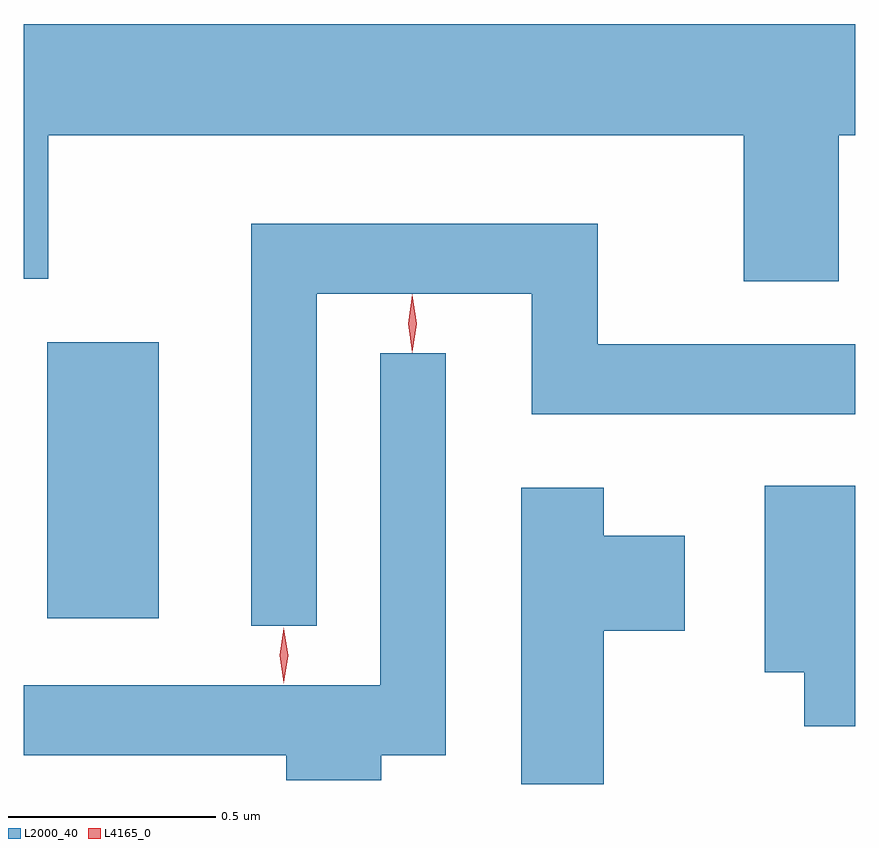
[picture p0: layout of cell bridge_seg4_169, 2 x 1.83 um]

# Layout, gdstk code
import gdstk
lib = gdstk.Library(unit=1e-6, precision=1e-09)
def R(c, l, rs):  # rectangles x0, y0, x1, y1
    for r in rs: c.add(gdstk.rectangle(r[:2], r[2:], *l))
def P(c, l, *ps):  # polygons
    for p in ps: c.add(gdstk.Polygon(p, *l))
L2000_40 = (2000, 40)
L4165_0 = (4165, 0)

bridge_seg4_169 = lib.new_cell('bridge_seg4_169')
R(bridge_seg4_169, L2000_40, [(944.536,1317.996,944.804,1318.659)])
P(bridge_seg4_169, L2000_40, [(946.439,1319.156),(946.479,1319.156),(946.479,1319.424),(944.479,1319.424),(944.479,1318.811),(944.539,1318.811),(944.539,1319.156),(946.211,1319.156),(946.211,1318.806),(946.439,1318.806)],
  [(945.184,1318.776),(945.701,1318.776),(945.701,1318.486),(946.479,1318.486),(946.479,1318.654),(945.859,1318.654),(945.859,1318.944),(945.026,1318.944),(945.026,1317.978),(945.184,1317.978)],
  [(945.339,1317.666),(945.494,1317.666),(945.494,1318.633),(945.336,1318.633),(945.336,1317.834),(944.479,1317.834),(944.479,1317.666),(945.111,1317.666),(945.111,1317.606),(945.339,1317.606)],
  [(946.479,1318.314),(946.261,1318.314),(946.261,1317.866),(946.356,1317.866),(946.356,1317.736),(946.479,1317.736)],
  [(945.874,1317.966),(946.069,1317.966),(946.069,1318.194),(945.874,1318.194),(945.874,1318.309),(945.676,1318.309),(945.676,1317.597),(945.874,1317.597)])
P(bridge_seg4_169, L4165_0, [(945.414,1318.634),(945.413,1318.635),(945.404,1318.704),(945.413,1318.773),(945.414,1318.774),(945.414,1318.773),(945.424,1318.704),(945.414,1318.635)],
  [(945.105,1317.839),(945.104,1317.84),(945.095,1317.906),(945.104,1317.972),(945.105,1317.973),(945.105,1317.972),(945.115,1317.906),(945.105,1317.84)])

lib.write_gds('bridge_seg4_169.gds')
